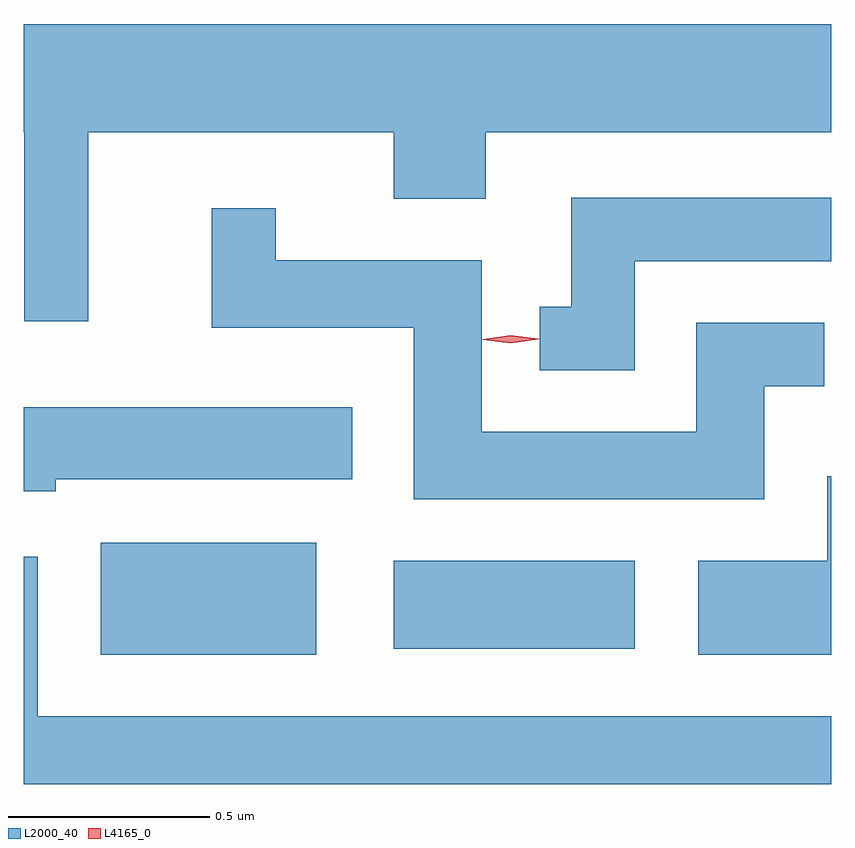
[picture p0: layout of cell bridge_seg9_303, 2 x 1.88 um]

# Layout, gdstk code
import gdstk
lib = gdstk.Library(unit=1e-6, precision=1e-09)
def R(c, l, rs):  # rectangles x0, y0, x1, y1
    for r in rs: c.add(gdstk.rectangle(r[:2], r[2:], *l))
def P(c, l, *ps):  # polygons
    for p in ps: c.add(gdstk.Polygon(p, *l))
L2000_40 = (2000, 40)
L4165_0 = (4165, 0)

bridge_seg9_303 = lib.new_cell('bridge_seg9_303')
R(bridge_seg9_303, L2000_40, [(987.086,2041.581,987.619,2041.859), (987.811,2041.596,988.409,2041.814)])
P(bridge_seg9_303, L2000_40, [(987.054,2042.876),(987.811,2042.876),(987.811,2042.711),(988.039,2042.711),(988.039,2042.876),(988.895,2042.876),(988.895,2043.144),(986.895,2043.144),(986.895,2042.876),(986.896,2042.876),(986.896,2042.408),(987.054,2042.408)],
  [(988.409,2042.556),(988.895,2042.556),(988.895,2042.714),(988.251,2042.714),(988.251,2042.444),(988.173,2042.444),(988.173,2042.286),(988.409,2042.286)],
  [(988.729,2042.246),(988.878,2042.246),(988.878,2042.404),(988.561,2042.404),(988.561,2042.134),(988.029,2042.134),(988.029,2042.559),(987.519,2042.559),(987.519,2042.688),(987.361,2042.688),(987.361,2042.391),(987.861,2042.391),(987.861,2041.966),(988.729,2041.966)],
  [(986.974,2042.016),(987.709,2042.016),(987.709,2042.194),(986.895,2042.194),(986.895,2041.986),(986.974,2041.986)],
  [(988.895,2042.024),(988.886,2042.024),(988.886,2041.814),(988.566,2041.814),(988.566,2041.581),(988.895,2041.581)],
  [(988.895,2041.429),(986.929,2041.429),(986.929,2041.824),(986.895,2041.824),(986.895,2041.261),(988.895,2041.261)])
P(bridge_seg9_303, L4165_0, [(988.101,2042.353),(988.032,2042.362),(988.032,2042.363),(988.032,2042.363),(988.101,2042.373),(988.171,2042.364),(988.171,2042.364),(988.171,2042.363)])

lib.write_gds('bridge_seg9_303.gds')
